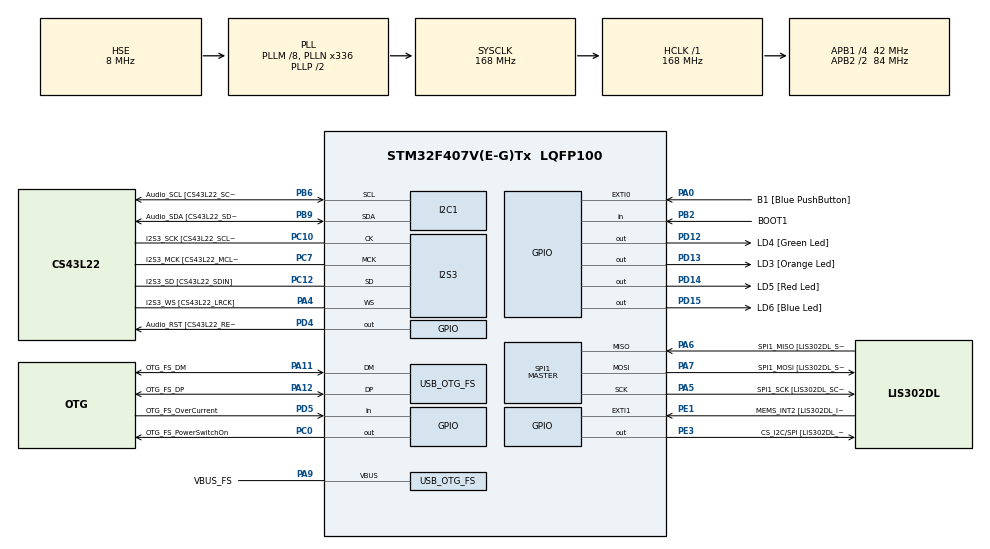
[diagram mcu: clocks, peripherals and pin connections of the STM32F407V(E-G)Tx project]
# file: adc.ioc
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ADC1.Channel-0\#ChannelRegularConversion=ADC_CHANNEL_TEMPSENSOR
ADC1.ContinuousConvMode=ENABLE
ADC1.EOCSelection=ADC_EOC_SEQ_CONV
ADC1.NbrOfConversionFlag=1
ADC1.Rank-0\#ChannelRegularConversion=1
ADC1.SamplingTime-0\#ChannelRegularConversion=ADC_SAMPLETIME_480CYCLES
ADC1.master=1
I2S3.AudioFreq-Half_Duplex_Master=I2S_AUDIOFREQ_96K
I2S3.ErrorAudioFreq=-2.34 %
I2S3.ErrorAudioFreq-Half_Duplex_Master=0.8 %
I2S3.FullDuplexMode=I2S_FULLDUPLEXMODE_DISABLE
I2S3.Instance=SPI$Index
I2S3.RealAudioFreq=93.75 KHz
I2S3.RealAudioFreq-Half_Duplex_Master=96.774 KHz
I2S3.VirtualMode=I2S_MODE_MASTER
Mcu.Family=STM32F4
Mcu.Name=STM32F407V(E-G)Tx
Mcu.Package=LQFP100
NVIC.OTG_FS_IRQn=true\:0\:0\:false\:false\:true\:true\:true
NVIC.PriorityGroup=NVIC_PRIORITYGROUP_0
PA0-WKUP.GPIO_Label=B1 [Blue PushButton]
PA0-WKUP.GPIO_ModeDefaultEXTI=GPIO_MODE_EVT_RISING
PA0-WKUP.GPIO_PuPd=GPIO_NOPULL
PA0-WKUP.Signal=GPXTI0
PA10.GPIO_Label=OTG_FS_ID
PA10.GPIO_Mode=GPIO_MODE_AF_PP
PA10.GPIO_PuPd=GPIO_NOPULL
PA10.GPIO_Speed=GPIO_SPEED_FREQ_LOW
PA10.Signal=USB_OTG_FS_ID
PA11.GPIO_Label=OTG_FS_DM
PA11.GPIO_Mode=GPIO_MODE_AF_PP
PA11.GPIO_PuPd=GPIO_NOPULL
PA11.GPIO_Speed=GPIO_SPEED_FREQ_LOW
PA11.Mode=Host_Only
PA11.Signal=USB_OTG_FS_DM
PA12.GPIO_Label=OTG_FS_DP
PA12.GPIO_Mode=GPIO_MODE_AF_PP
PA12.GPIO_PuPd=GPIO_NOPULL
PA12.GPIO_Speed=GPIO_SPEED_FREQ_LOW
PA12.Mode=Host_Only
PA12.Signal=USB_OTG_FS_DP
PA13.GPIO_Label=SWDIO
PA13.Mode=Serial_Wire
PA13.Signal=SYS_JTMS-SWDIO
PA14.GPIO_Label=SWCLK
PA14.Mode=Serial_Wire
PA14.Signal=SYS_JTCK-SWCLK
PA4.GPIO_Label=I2S3_WS [CS43L22_LRCK]
PA4.GPIO_Mode=GPIO_MODE_AF_PP
PA4.GPIO_PuPd=GPIO_NOPULL
PA4.GPIO_Speed=GPIO_SPEED_FREQ_LOW
PA4.Mode=Half_Duplex_Master
PA4.Signal=I2S3_WS
PA5.GPIO_Label=SPI1_SCK [LIS302DL_SCL/SPC]
PA5.GPIO_Mode=GPIO_MODE_AF_PP
PA5.GPIO_PuPd=GPIO_NOPULL
PA5.GPIO_Speed=GPIO_SPEED_FREQ_LOW
PA5.Mode=Full_Duplex_Master
PA5.Signal=SPI1_SCK
PA6.GPIO_Label=SPI1_MISO [LIS302DL_SDO]
PA6.GPIO_Mode=GPIO_MODE_AF_PP
PA6.GPIO_PuPd=GPIO_NOPULL
PA6.GPIO_Speed=GPIO_SPEED_FREQ_LOW
PA6.Mode=Full_Duplex_Master
PA6.Signal=SPI1_MISO
PA7.GPIO_Label=SPI1_MOSI [LIS302DL_SDA/SDI/SDO]
PA7.GPIO_Mode=GPIO_MODE_AF_PP
PA7.GPIO_PuPd=GPIO_NOPULL
PA7.GPIO_Speed=GPIO_SPEED_FREQ_LOW
PA7.Mode=Full_Duplex_Master
PA7.Signal=SPI1_MOSI
PA9.GPIO_Label=VBUS_FS
PA9.GPIO_Mode=GPIO_MODE_INPUT
PA9.GPIO_PuPd=GPIO_NOPULL
PA9.Mode=Activate_VBUS
PA9.Signal=USB_OTG_FS_VBUS
PB10.GPIO_Label=CLK_IN [MP45DT02_CLK]
PB10.GPIO_Mode=GPIO_MODE_AF_PP
PB10.GPIO_PuPd=GPIO_NOPULL
PB10.GPIO_Speed=GPIO_SPEED_FREQ_LOW
PB10.Signal=I2S2_CK
PB2.GPIO_Label=BOOT1
PB2.GPIO_Mode=GPIO_MODE_INPUT
PB2.GPIO_PuPd=GPIO_NOPULL
PB2.Signal=GPIO_Input
PB3.GPIO_Label=SWO
PB3.Signal=SYS_JTDO-SWO
PB6.GPIO_Label=Audio_SCL [CS43L22_SCL]
PB6.GPIO_Mode=GPIO_MODE_AF_OD
PB6.GPIO_Pu=GPIO_PULLUP
PB6.GPIO_PuPd=GPIO_NOPULL
PB6.GPIO_Speed=GPIO_SPEED_FREQ_LOW
PB6.Mode=I2C
PB6.Signal=I2C1_SCL
PB9.GPIO_Label=Audio_SDA [CS43L22_SDA]
PB9.GPIO_Mode=GPIO_MODE_AF_OD
PB9.GPIO_Pu=GPIO_PULLUP
PB9.GPIO_PuPd=GPIO_NOPULL
PB9.GPIO_Speed=GPIO_SPEED_FREQ_LOW
PB9.Mode=I2C
PB9.Signal=I2C1_SDA
PC0.GPIO_Label=OTG_FS_PowerSwitchOn
PC0.GPIO_PuPd=GPIO_NOPULL
PC0.GPIO_Speed=GPIO_SPEED_FREQ_LOW
PC0.PinState=GPIO_PIN_SET
PC0.Signal=GPIO_Output
PC10.GPIO_Label=I2S3_SCK [CS43L22_SCLK]
PC10.GPIO_Mode=GPIO_MODE_AF_PP
PC10.GPIO_PuPd=GPIO_NOPULL
PC10.GPIO_Speed=GPIO_SPEED_FREQ_LOW
PC10.Mode=Half_Duplex_Master
PC10.Signal=I2S3_CK
PC12.GPIO_Label=I2S3_SD [CS43L22_SDIN]
PC12.GPIO_Mode=GPIO_MODE_AF_PP
PC12.GPIO_PuPd=GPIO_NOPULL
PC12.GPIO_Speed=GPIO_SPEED_FREQ_LOW
PC12.Mode=Half_Duplex_Master
PC12.Signal=I2S3_SD
PC14-OSC32_IN.GPIO_Label=PC14-OSC32_IN
PC14-OSC32_IN.Mode=LSE-External-Oscillator
PC14-OSC32_IN.Signal=RCC_OSC32_IN
PC15-OSC32_OUT.GPIO_Label=PC15-OSC32_OUT
PC15-OSC32_OUT.Mode=LSE-External-Oscillator
PC15-OSC32_OUT.Signal=RCC_OSC32_OUT
PC3.GPIO_Label=PDM_OUT [MP45DT02_DOUT]
PC3.GPIO_Mode=GPIO_MODE_AF_PP
PC3.GPIO_PuPd=GPIO_NOPULL
PC3.GPIO_Speed=GPIO_SPEED_FREQ_LOW
PC3.Signal=I2S2_SD
PC7.GPIO_Label=I2S3_MCK [CS43L22_MCLK]
PC7.GPIO_Mode=GPIO_MODE_AF_PP
PC7.GPIO_PuPd=GPIO_NOPULL
PC7.GPIO_Speed=GPIO_SPEED_FREQ_LOW
PC7.Mode=Master_Clock_Activated
PC7.Signal=I2S3_MCK
PD12.GPIO_Label=LD4 [Green Led]
PD12.GPIO_PuPd=GPIO_NOPULL
PD12.GPIO_Speed=GPIO_SPEED_FREQ_LOW
PD12.Signal=GPIO_Output
PD13.GPIO_Label=LD3 [Orange Led]
PD13.GPIO_PuPd=GPIO_NOPULL
PD13.GPIO_Speed=GPIO_SPEED_FREQ_LOW
PD13.Signal=GPIO_Output
PD14.GPIO_Label=LD5 [Red Led]
PD14.GPIO_PuPd=GPIO_NOPULL
PD14.GPIO_Speed=GPIO_SPEED_FREQ_LOW
PD14.Signal=GPIO_Output
PD15.GPIO_Label=LD6 [Blue Led]
PD15.GPIO_PuPd=GPIO_NOPULL
PD15.GPIO_Speed=GPIO_SPEED_FREQ_LOW
PD15.Signal=GPIO_Output
PD4.GPIO_Label=Audio_RST [CS43L22_RESET]
PD4.GPIO_PuPd=GPIO_NOPULL
PD4.GPIO_Speed=GPIO_SPEED_FREQ_LOW
PD4.Signal=GPIO_Output
PD5.GPIO_Label=OTG_FS_OverCurrent
PD5.GPIO_Mode=GPIO_MODE_INPUT
PD5.GPIO_PuPd=GPIO_NOPULL
PD5.Signal=GPIO_Input
PE1.GPIO_Label=MEMS_INT2 [LIS302DL_INT2]
PE1.GPIO_ModeDefaultEXTI=GPIO_MODE_EVT_RISING
PE1.GPIO_PuPd=GPIO_NOPULL
PE1.Signal=GPXTI1
PE3.GPIO_Label=CS_I2C/SPI [LIS302DL_CS_I2C/SPI]
PE3.GPIO_PuPd=GPIO_NOPULL
PE3.GPIO_Speed=GPIO_SPEED_FREQ_LOW
PE3.Signal=GPIO_Output
PH0-OSC_IN.GPIO_Label=PH0-OSC_IN
PH0-OSC_IN.Mode=HSE-External-Oscillator
PH0-OSC_IN.Signal=RCC_OSC_IN
PH1-OSC_OUT.GPIO_Label=PH1-OSC_OUT
PH1-OSC_OUT.Mode=HSE-External-Oscillator
PH1-OSC_OUT.Signal=RCC_OSC_OUT
ProjectManager.HeapSize=0x200
ProjectManager.StackSize=0x400
ProjectManager.TargetToolchain=STM32CubeIDE
RCC.48MHZClocksFreq_Value=48000000
RCC.AHBFreq_Value=168000000
RCC.APB1CLKDivider=RCC_HCLK_DIV4
RCC.APB1Freq_Value=42000000
RCC.APB1TimFreq_Value=84000000
RCC.APB2CLKDivider=RCC_HCLK_DIV2
RCC.APB2Freq_Value=84000000
RCC.APB2TimFreq_Value=168000000
RCC.CortexFreq_Value=168000000
RCC.HCLKFreq_Value=168000000
RCC.HSE_VALUE=8000000
RCC.HSI_VALUE=16000000
RCC.PLLM=8
RCC.PLLN=336
RCC.PLLQ=7
RCC.SYSCLKFreq_VALUE=168000000
RCC.SYSCLKSource=RCC_SYSCLKSOURCE_PLLCLK
RCC.VCOOutputFreq_Value=336000000
SPI1.BaudRatePrescaler-Full_Duplex_Master=SPI_BAUDRATEPRESCALER_2
SPI1.CalculateBaudRate-Full_Duplex_Master=42.0 MBits/s
SPI1.Direction=SPI_DIRECTION_2LINES
SPI1.Mode=SPI_MODE_MASTER
SPI1.Mode-Full_Duplex_Master=SPI_MODE_MASTER
SPI1.VirtualType=VM_MASTER
USB_HOST.BSP.number=1
USB_HOST.USBH_HandleTypeDef-CDC_FS=hUsbHostFS
USB_HOST.VirtualModeFS=Cdc
USB_HOST0.BSP.STBoard=false
USB_HOST0.BSP.api=Unknown
USB_HOST0.BSP.i2caddr=0
USB_HOST0.BSP.i2creg=0
USB_HOST0.BSP.instance=PC0
USB_HOST0.BSP.ip=GPIO
USB_HOST0.BSP.mode=Output
USB_HOST0.BSP.name=Drive_VBUS_FS
USB_HOST0.BSP.solution=PC0
USB_OTG_FS.VirtualMode=Host_Only
USB_OTG_FS.phy_itface=HCD_PHY_EMBEDDED
VP_ADC1_TempSens_Input.Mode=IN-TempSens
VP_USB_HOST_VS_USB_HOST_CDC_FS.Mode=CDC_FS
board=STM32F407G-DISC1

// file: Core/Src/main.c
/* USER CODE BEGIN Header */
/**
  ******************************************************************************
  * @file           : main.c
  * @brief          : Main program body
  ******************************************************************************
  * @attention
  *
  * Copyright (c) 2022 STMicroelectronics.
  * All rights reserved.
  *
  * This software is licensed under terms that can be found in the LICENSE file
  * in the root directory of this software component.
  * If no LICENSE file comes with this software, it is provided AS-IS.
  *
  ******************************************************************************
  */
/* USER CODE END Header */
#include "main.h"
#include "usb_host.h"
#include <stdio.h>
#include <string.h>
#include <stdarg.h>
#include <math.h>

ADC_HandleTypeDef hadc1;

I2C_HandleTypeDef hi2c1;

I2S_HandleTypeDef hi2s3;

SPI_HandleTypeDef hspi1;

void SystemClock_Config(void);
static void MX_GPIO_Init(void);
static void MX_I2C1_Init(void);
static void MX_I2S3_Init(void);
static void MX_SPI1_Init(void);
static void MX_ADC1_Init(void);
void MX_USB_HOST_Process(void);

/* USER CODE BEGIN 0 */

void write_debug(const char *text, ...)
{
    unsigned int MAX_LINE_LENGTH = 1024;
    char buffer[MAX_LINE_LENGTH];
    memset(buffer, 0, MAX_LINE_LENGTH);

    va_list ap;
    va_start(ap, text);
    vsnprintf (buffer, MAX_LINE_LENGTH, text, ap);
    va_end(ap);

    asm volatile (
    " mov r0, 0x4 \n"
    " mov r1, %[msg] \n"
    " bkpt #0xAB"
    :
    : [msg] "r" (buffer)
    : "r0", "r1"
    );
}

/* USER CODE END 0 */

int main(void)
{

  /* MCU Configuration--------------------------------------------------------*/

  /* Reset of all peripherals, Initializes the Flash interface and the Systick. */
  HAL_Init();

  /* Configure the system clock */
  SystemClock_Config();

  /* Initialize all configured peripherals */
  MX_GPIO_Init();
  MX_I2C1_Init();
  MX_I2S3_Init();
  MX_SPI1_Init();
  MX_USB_HOST_Init();
  MX_ADC1_Init();
  /* USER CODE BEGIN 2 */
  HAL_ADC_Start(&hadc1);

  /* USER CODE END 2 */

  /* Infinite loop */
  /* USER CODE BEGIN WHILE */
  while (1)
  {

	  HAL_ADC_PollForConversion(&hadc1, HAL_MAX_DELAY);
	  	  uint16_t raw_temp = HAL_ADC_GetValue(&hadc1);

	  	  float temp = (((((float)raw_temp/4095)*3000)-760)/2.5) + 25;

	  	  write_debug("RT: %u, %u Celsius \n", raw_temp, (uint16_t)floor(temp));
	  	  int counter = 0;
	  	  while(counter < 1000000){
	  		  counter++;
	  	  }
    /* USER CODE END WHILE */
    MX_USB_HOST_Process();

  }
}

void SystemClock_Config(void)
{
  RCC_OscInitTypeDef RCC_OscInitStruct = {0};
  RCC_ClkInitTypeDef RCC_ClkInitStruct = {0};

  /** Configure the main internal regulator output voltage
  */
  __HAL_RCC_PWR_CLK_ENABLE();
  __HAL_PWR_VOLTAGESCALING_CONFIG(PWR_REGULATOR_VOLTAGE_SCALE1);
  /** Initializes the RCC Oscillators according to the specified parameters
  * in the RCC_OscInitTypeDef structure.
  */
  RCC_OscInitStruct.OscillatorType = RCC_OSCILLATORTYPE_HSE;
  RCC_OscInitStruct.HSEState = RCC_HSE_ON;
  RCC_OscInitStruct.PLL.PLLState = RCC_PLL_ON;
  RCC_OscInitStruct.PLL.PLLSource = RCC_PLLSOURCE_HSE;
  RCC_OscInitStruct.PLL.PLLM = 8;
  RCC_OscInitStruct.PLL.PLLN = 336;
  RCC_OscInitStruct.PLL.PLLP = RCC_PLLP_DIV2;
  RCC_OscInitStruct.PLL.PLLQ = 7;
  if (HAL_RCC_OscConfig(&RCC_OscInitStruct) != HAL_OK)
  {
    Error_Handler();
  }
  /** Initializes the CPU, AHB and APB buses clocks
  */
  RCC_ClkInitStruct.ClockType = RCC_CLOCKTYPE_HCLK|RCC_CLOCKTYPE_SYSCLK
                              |RCC_CLOCKTYPE_PCLK1|RCC_CLOCKTYPE_PCLK2;
  RCC_ClkInitStruct.SYSCLKSource = RCC_SYSCLKSOURCE_PLLCLK;
  RCC_ClkInitStruct.AHBCLKDivider = RCC_SYSCLK_DIV1;
  RCC_ClkInitStruct.APB1CLKDivider = RCC_HCLK_DIV4;
  RCC_ClkInitStruct.APB2CLKDivider = RCC_HCLK_DIV2;

  if (HAL_RCC_ClockConfig(&RCC_ClkInitStruct, FLASH_LATENCY_5) != HAL_OK)
  {
    Error_Handler();
  }
}

static void MX_ADC1_Init(void)
{

  ADC_ChannelConfTypeDef sConfig = {0};

  /** Configure the global features of the ADC (Clock, Resolution, Data Alignment and number of conversion)
  */
  hadc1.Instance = ADC1;
  hadc1.Init.ClockPrescaler = ADC_CLOCK_SYNC_PCLK_DIV4;
  hadc1.Init.Resolution = ADC_RESOLUTION_12B;
  hadc1.Init.ScanConvMode = DISABLE;
  hadc1.Init.ContinuousConvMode = ENABLE;
  hadc1.Init.DiscontinuousConvMode = DISABLE;
  hadc1.Init.ExternalTrigConvEdge = ADC_EXTERNALTRIGCONVEDGE_NONE;
  hadc1.Init.ExternalTrigConv = ADC_SOFTWARE_START;
  hadc1.Init.DataAlign = ADC_DATAALIGN_RIGHT;
  hadc1.Init.NbrOfConversion = 1;
  hadc1.Init.DMAContinuousRequests = DISABLE;
  hadc1.Init.EOCSelection = ADC_EOC_SEQ_CONV;
  if (HAL_ADC_Init(&hadc1) != HAL_OK)
  {
    Error_Handler();
  }
  /** Configure for the selected ADC regular channel its corresponding rank in the sequencer and its sample time.
  */
  sConfig.Channel = ADC_CHANNEL_TEMPSENSOR;
  sConfig.Rank = 1;
  sConfig.SamplingTime = ADC_SAMPLETIME_480CYCLES;
  if (HAL_ADC_ConfigChannel(&hadc1, &sConfig) != HAL_OK)
  {
    Error_Handler();
  }

}

static void MX_I2C1_Init(void)
{

  hi2c1.Instance = I2C1;
  hi2c1.Init.ClockSpeed = 100000;
  hi2c1.Init.DutyCycle = I2C_DUTYCYCLE_2;
  hi2c1.Init.OwnAddress1 = 0;
  hi2c1.Init.AddressingMode = I2C_ADDRESSINGMODE_7BIT;
  hi2c1.Init.DualAddressMode = I2C_DUALADDRESS_DISABLE;
  hi2c1.Init.OwnAddress2 = 0;
  hi2c1.Init.GeneralCallMode = I2C_GENERALCALL_DISABLE;
  hi2c1.Init.NoStretchMode = I2C_NOSTRETCH_DISABLE;
  if (HAL_I2C_Init(&hi2c1) != HAL_OK)
  {
    Error_Handler();
  }

}

static void MX_I2S3_Init(void)
{

  hi2s3.Instance = SPI3;
  hi2s3.Init.Mode = I2S_MODE_MASTER_TX;
  hi2s3.Init.Standard = I2S_STANDARD_PHILIPS;
  hi2s3.Init.DataFormat = I2S_DATAFORMAT_16B;
  hi2s3.Init.MCLKOutput = I2S_MCLKOUTPUT_ENABLE;
  hi2s3.Init.AudioFreq = I2S_AUDIOFREQ_96K;
  hi2s3.Init.CPOL = I2S_CPOL_LOW;
  hi2s3.Init.ClockSource = I2S_CLOCK_PLL;
  hi2s3.Init.FullDuplexMode = I2S_FULLDUPLEXMODE_DISABLE;
  if (HAL_I2S_Init(&hi2s3) != HAL_OK)
  {
    Error_Handler();
  }

}

static void MX_SPI1_Init(void)
{

  /* SPI1 parameter configuration*/
  hspi1.Instance = SPI1;
  hspi1.Init.Mode = SPI_MODE_MASTER;
  hspi1.Init.Direction = SPI_DIRECTION_2LINES;
  hspi1.Init.DataSize = SPI_DATASIZE_8BIT;
  hspi1.Init.CLKPolarity = SPI_POLARITY_LOW;
  hspi1.Init.CLKPhase = SPI_PHASE_1EDGE;
  hspi1.Init.NSS = SPI_NSS_SOFT;
  hspi1.Init.BaudRatePrescaler = SPI_BAUDRATEPRESCALER_2;
  hspi1.Init.FirstBit = SPI_FIRSTBIT_MSB;
  hspi1.Init.TIMode = SPI_TIMODE_DISABLE;
  hspi1.Init.CRCCalculation = SPI_CRCCALCULATION_DISABLE;
  hspi1.Init.CRCPolynomial = 10;
  if (HAL_SPI_Init(&hspi1) != HAL_OK)
  {
    Error_Handler();
  }

}

static void MX_GPIO_Init(void)
{
  GPIO_InitTypeDef GPIO_InitStruct = {0};

  /* GPIO Ports Clock Enable */
  __HAL_RCC_GPIOE_CLK_ENABLE();
  __HAL_RCC_GPIOC_CLK_ENABLE();
  __HAL_RCC_GPIOH_CLK_ENABLE();
  __HAL_RCC_GPIOA_CLK_ENABLE();
  __HAL_RCC_GPIOB_CLK_ENABLE();
  __HAL_RCC_GPIOD_CLK_ENABLE();

  /*Configure GPIO pin Output Level */
  HAL_GPIO_WritePin(CS_I2C_SPI_GPIO_Port, CS_I2C_SPI_Pin, GPIO_PIN_RESET);

  /*Configure GPIO pin Output Level */
  HAL_GPIO_WritePin(OTG_FS_PowerSwitchOn_GPIO_Port, OTG_FS_PowerSwitchOn_Pin, GPIO_PIN_SET);

  /*Configure GPIO pin Output Level */
  HAL_GPIO_WritePin(GPIOD, LD4_Pin|LD3_Pin|LD5_Pin|LD6_Pin
                          |Audio_RST_Pin, GPIO_PIN_RESET);

  /*Configure GPIO pin : CS_I2C_SPI_Pin */
  GPIO_InitStruct.Pin = CS_I2C_SPI_Pin;
  GPIO_InitStruct.Mode = GPIO_MODE_OUTPUT_PP;
  GPIO_InitStruct.Pull = GPIO_NOPULL;
  GPIO_InitStruct.Speed = GPIO_SPEED_FREQ_LOW;
  HAL_GPIO_Init(CS_I2C_SPI_GPIO_Port, &GPIO_InitStruct);

  /*Configure GPIO pin : OTG_FS_PowerSwitchOn_Pin */
  GPIO_InitStruct.Pin = OTG_FS_PowerSwitchOn_Pin;
  GPIO_InitStruct.Mode = GPIO_MODE_OUTPUT_PP;
  GPIO_InitStruct.Pull = GPIO_NOPULL;
  GPIO_InitStruct.Speed = GPIO_SPEED_FREQ_LOW;
  HAL_GPIO_Init(OTG_FS_PowerSwitchOn_GPIO_Port, &GPIO_InitStruct);

  /*Configure GPIO pin : PDM_OUT_Pin */
  GPIO_InitStruct.Pin = PDM_OUT_Pin;
  GPIO_InitStruct.Mode = GPIO_MODE_AF_PP;
  GPIO_InitStruct.Pull = GPIO_NOPULL;
  GPIO_InitStruct.Speed = GPIO_SPEED_FREQ_LOW;
  GPIO_InitStruct.Alternate = GPIO_AF5_SPI2;
  HAL_GPIO_Init(PDM_OUT_GPIO_Port, &GPIO_InitStruct);

  /*Configure GPIO pin : B1_Pin */
  GPIO_InitStruct.Pin = B1_Pin;
  GPIO_InitStruct.Mode = GPIO_MODE_EVT_RISING;
  GPIO_InitStruct.Pull = GPIO_NOPULL;
  HAL_GPIO_Init(B1_GPIO_Port, &GPIO_InitStruct);

  /*Configure GPIO pin : BOOT1_Pin */
  GPIO_InitStruct.Pin = BOOT1_Pin;
  GPIO_InitStruct.Mode = GPIO_MODE_INPUT;
  GPIO_InitStruct.Pull = GPIO_NOPULL;
  HAL_GPIO_Init(BOOT1_GPIO_Port, &GPIO_InitStruct);

  /*Configure GPIO pin : CLK_IN_Pin */
  GPIO_InitStruct.Pin = CLK_IN_Pin;
  GPIO_InitStruct.Mode = GPIO_MODE_AF_PP;
  GPIO_InitStruct.Pull = GPIO_NOPULL;
  GPIO_InitStruct.Speed = GPIO_SPEED_FREQ_LOW;
  GPIO_InitStruct.Alternate = GPIO_AF5_SPI2;
  HAL_GPIO_Init(CLK_IN_GPIO_Port, &GPIO_InitStruct);

  /*Configure GPIO pins : LD4_Pin LD3_Pin LD5_Pin LD6_Pin
                           Audio_RST_Pin */
  GPIO_InitStruct.Pin = LD4_Pin|LD3_Pin|LD5_Pin|LD6_Pin
                          |Audio_RST_Pin;
  GPIO_InitStruct.Mode = GPIO_MODE_OUTPUT_PP;
  GPIO_InitStruct.Pull = GPIO_NOPULL;
  GPIO_InitStruct.Speed = GPIO_SPEED_FREQ_LOW;
  HAL_GPIO_Init(GPIOD, &GPIO_InitStruct);

  /*Configure GPIO pin : OTG_FS_OverCurrent_Pin */
  GPIO_InitStruct.Pin = OTG_FS_OverCurrent_Pin;
  GPIO_InitStruct.Mode = GPIO_MODE_INPUT;
  GPIO_InitStruct.Pull = GPIO_NOPULL;
  HAL_GPIO_Init(OTG_FS_OverCurrent_GPIO_Port, &GPIO_InitStruct);

  /*Configure GPIO pin : MEMS_INT2_Pin */
  GPIO_InitStruct.Pin = MEMS_INT2_Pin;
  GPIO_InitStruct.Mode = GPIO_MODE_EVT_RISING;
  GPIO_InitStruct.Pull = GPIO_NOPULL;
  HAL_GPIO_Init(MEMS_INT2_GPIO_Port, &GPIO_InitStruct);

}

void Error_Handler(void)
{
  __disable_irq();
  while (1)
  {
  }
}
